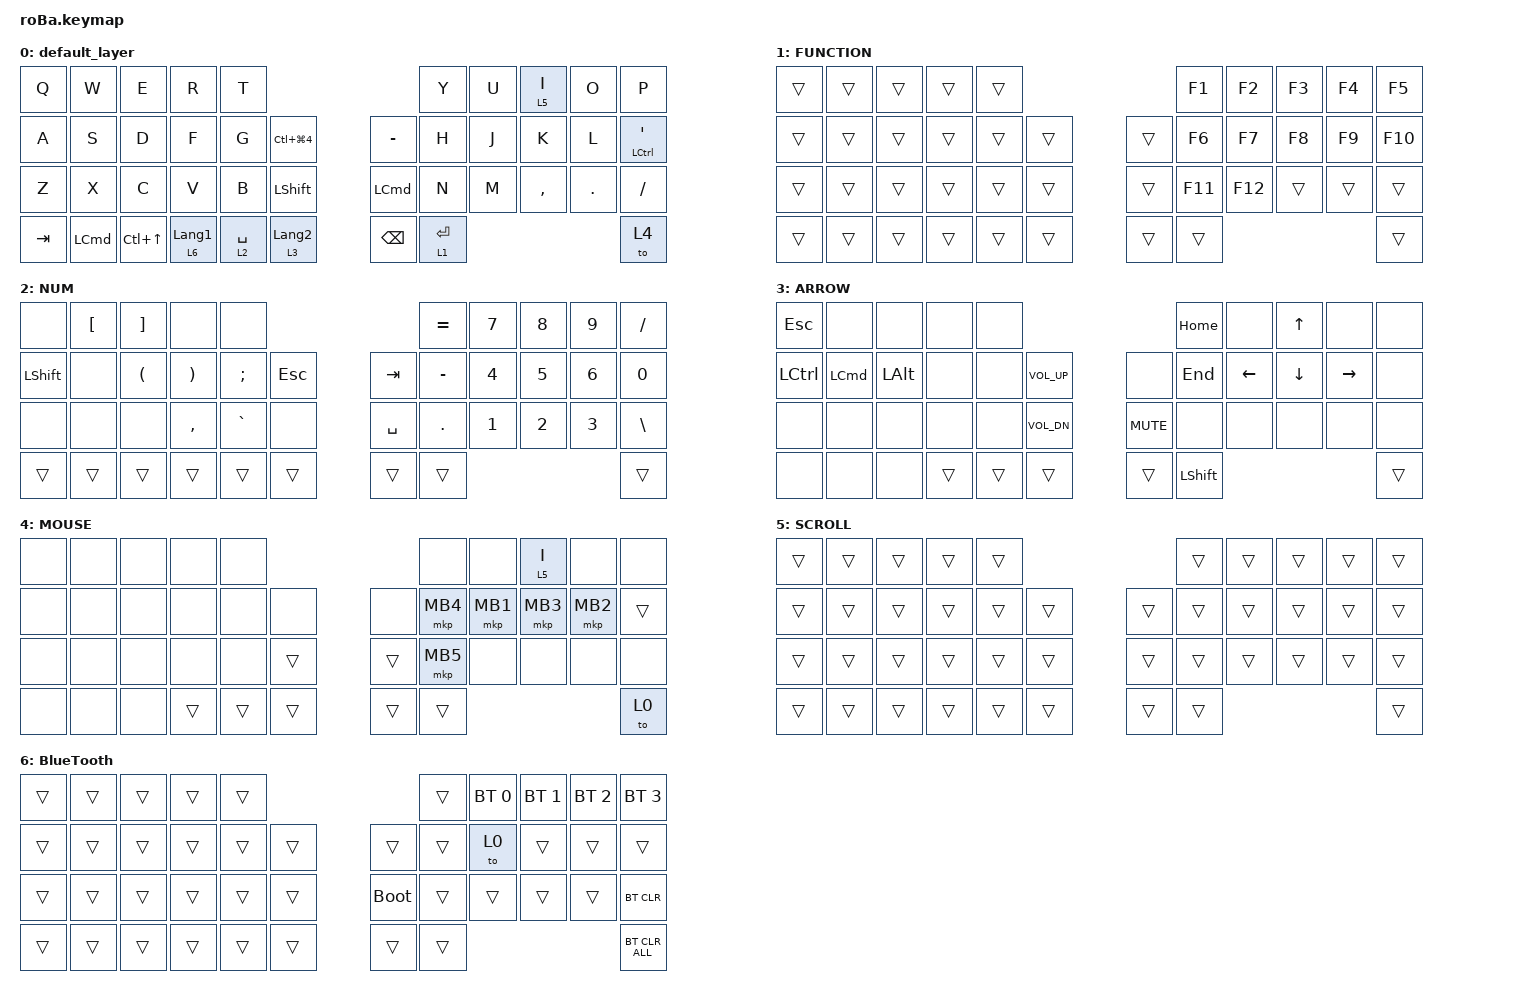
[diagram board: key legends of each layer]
#include <behaviors.dtsi>
#include <dt-bindings/zmk/bt.h>
#include <dt-bindings/zmk/keys.h>
#include <dt-bindings/zmk/mouse.h>

#define MOUSE 4
#define SCROLL 5
#define NUM 6

&mt {
    flavor = "balanced";
    quick-tap-ms = <0>;
};

/ {
    combos {
        compatible = "zmk,combos";

        ecs {
            bindings = <&kp ESCAPE>;
            key-positions = <0 1>;
        };

        shift_tab {
            bindings = <&kp LS(TAB)>;
            key-positions = <12 13>;
        };
    };

    macros {
        to_layer_0: to_layer_0 {
            compatible = "zmk,behavior-macro-one-param";
            #binding-cells = <1>;
            bindings = <&to 0 &macro_param_1to1 &kp MACRO_PLACEHOLDER>;
            label = "TO_LAYER_0";
        };
    };

    behaviors {
        lt_to_layer_0: lt_to_layer_0 {
            compatible = "zmk,behavior-hold-tap";
            label = "LAYER_TAP_TO_0";
            bindings = <&mo>, <&to_layer_0>;

            #binding-cells = <2>;
            tapping-term-ms = <200>;
        };
    };

    keymap {
        compatible = "zmk,keymap";

        default_layer {
            bindings = <
&kp Q    &kp W             &kp E       &kp R                        &kp T                                                         &kp Y        &kp U  &lt 5 I    &kp O    &kp P
&kp A    &kp S             &kp D       &kp F                        &kp G        &kp LC(LG(NUMBER_4))           &kp MINUS         &kp H        &kp J  &kp K      &kp L    &mt LEFT_CONTROL SQT
&kp Z    &kp X             &kp C       &kp V                        &kp B        &kp LEFT_SHIFT                 &kp LEFT_COMMAND  &kp N        &kp M  &kp COMMA  &kp DOT  &kp SLASH
&kp TAB  &kp LEFT_COMMAND  &kp LC(UP)  &lt_to_layer_0 6 LANGUAGE_1  &lt 2 SPACE  &lt_to_layer_0 3 LANGUAGE_2    &kp BACKSPACE     &lt 1 ENTER                             &to 4
            >;
        };

        FUNCTION {
            bindings = <
&trans  &trans  &trans  &trans  &trans                    &kp F1   &kp F2   &kp F3  &kp F4  &kp F5
&trans  &trans  &trans  &trans  &trans  &trans    &trans  &kp F6   &kp F7   &kp F8  &kp F9  &kp F10
&trans  &trans  &trans  &trans  &trans  &trans    &trans  &kp F11  &kp F12  &trans  &trans  &trans
&trans  &trans  &trans  &trans  &trans  &trans    &trans  &trans                            &trans
            >;
        };

        NUM {
            bindings = <
&none           &kp LEFT_BRACKET  &kp RIGHT_BRACKET     &none                  &none                                   &kp EQUAL   &kp NUMBER_7  &kp NUMBER_8  &kp NUMBER_9  &kp SLASH
&kp LEFT_SHIFT  &none             &kp LEFT_PARENTHESIS  &kp RIGHT_PARENTHESIS  &kp SEMICOLON  &kp ESCAPE    &kp TAB    &kp MINUS   &kp NUMBER_4  &kp NUMBER_5  &kp NUMBER_6  &kp NUMBER_0
&none           &none             &none                 &kp COMMA              &kp GRAVE      &none         &kp SPACE  &kp PERIOD  &kp NUMBER_1  &kp NUMBER_2  &kp NUMBER_3  &kp BACKSLASH
&trans          &trans            &trans                &trans                 &trans         &trans        &trans     &trans                                                &trans
            >;
        };

        ARROW {
            bindings = <
&kp ESCAPE        &none             &none         &none   &none                               &kp HOME        &none           &kp UP_ARROW    &none            &none
&kp LEFT_CONTROL  &kp LEFT_COMMAND  &kp LEFT_ALT  &none   &none   &kp C_VOL_UP    &none       &kp END         &kp LEFT_ARROW  &kp DOWN_ARROW  &kp RIGHT_ARROW  &none
&none             &none             &none         &none   &none   &kp C_VOL_DN    &kp K_MUTE  &none           &none           &none           &none            &none
&none             &none             &none         &trans  &trans  &trans          &trans      &kp LEFT_SHIFT                                                   &trans
            >;
        };

        MOUSE {
            bindings = <
&none  &none  &none  &none   &none                     &none     &none     &lt 5 I   &none     &none
&none  &none  &none  &none   &none   &none     &none   &mkp MB4  &mkp MB1  &mkp MB3  &mkp MB2  &trans
&none  &none  &none  &none   &none   &trans    &trans  &mkp MB5  &none     &none     &none     &none
&none  &none  &none  &trans  &trans  &trans    &trans  &trans                                  &to 0
            >;
        };

        SCROLL {
            bindings = <
&trans  &trans  &trans  &trans  &trans                    &trans  &trans  &trans  &trans  &trans
&trans  &trans  &trans  &trans  &trans  &trans    &trans  &trans  &trans  &trans  &trans  &trans
&trans  &trans  &trans  &trans  &trans  &trans    &trans  &trans  &trans  &trans  &trans  &trans
&trans  &trans  &trans  &trans  &trans  &trans    &trans  &trans                          &trans
            >;
        };

        BlueTooth {
            bindings = <
&trans  &trans  &trans  &trans  &trans                         &trans  &bt BT_SEL 0  &bt BT_SEL 1  &bt BT_SEL 2  &bt BT_SEL 3
&trans  &trans  &trans  &trans  &trans  &trans    &trans       &trans  &to 0         &trans        &trans        &trans
&trans  &trans  &trans  &trans  &trans  &trans    &bootloader  &trans  &trans        &trans        &trans        &bt BT_CLR
&trans  &trans  &trans  &trans  &trans  &trans    &trans       &trans                                            &bt BT_CLR_ALL
            >;
        };
    };
};
